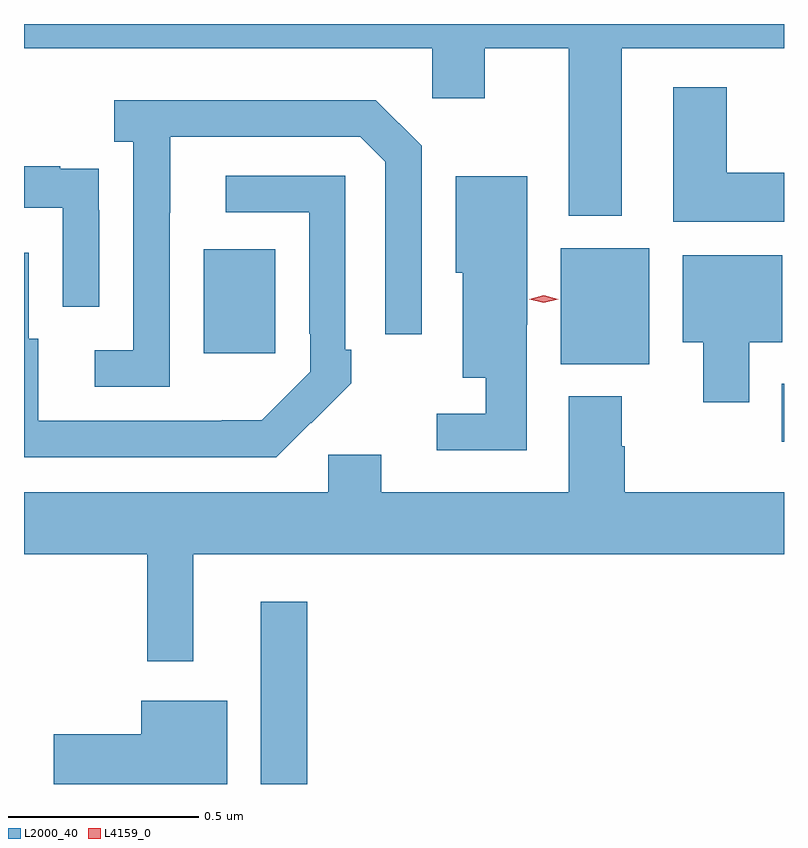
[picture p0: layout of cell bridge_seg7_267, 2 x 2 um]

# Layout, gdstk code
import gdstk
lib = gdstk.Library(unit=1e-6, precision=1e-09)
def R(c, l, rs):  # rectangles x0, y0, x1, y1
    for r in rs: c.add(gdstk.rectangle(r[:2], r[2:], *l))
def P(c, l, *ps):  # polygons
    for p in ps: c.add(gdstk.Polygon(p, *l))
L2000_40 = (2000, 40)
L4159_0 = (4159, 0)

bridge_seg7_267 = lib.new_cell('bridge_seg7_267')
R(bridge_seg7_267, L2000_40, [(167.453,1031.98,167.575,1032.46), (168.824,1032.881,168.83,1033.033), (168.242,1033.085,168.475,1033.39), (167.303,1033.113,167.491,1033.387)])
P(bridge_seg7_267, L2000_40, [(168.403,1033.916),(168.83,1033.916),(168.83,1033.98),(166.83,1033.98),(166.83,1033.916),(167.904,1033.916),(167.904,1033.785),(168.043,1033.785),(168.043,1033.916),(168.263,1033.916),(168.263,1033.475),(168.403,1033.475)],
  [(168.83,1033.588),(168.679,1033.588),(168.679,1033.813),(168.539,1033.813),(168.539,1033.46),(168.83,1033.46)],
  [(167.214,1033.483),(167.215,1033.483),(167.215,1033.683),(167.715,1033.683),(167.781,1033.617),(167.781,1033.164),(167.877,1033.164),(167.877,1033.659),(167.756,1033.78),(167.067,1033.78),(167.067,1033.67),(167.118,1033.67),(167.118,1033.122),(167.016,1033.122),(167.016,1033.026),(167.214,1033.026)],
  [(167.028,1033.49),(167.027,1033.49),(167.027,1033.599),(166.925,1033.599),(166.925,1033.606),(166.83,1033.606),(166.83,1033.497),(166.932,1033.497),(166.932,1033.236),(167.028,1033.236)],
  [(167.585,1032.931),(167.586,1032.93),(167.691,1033.035),(167.691,1033.123),(167.676,1033.123),(167.676,1033.581),(167.361,1033.581),(167.361,1033.485),(167.58,1033.485),(167.58,1033.165),(167.583,1033.165),(167.583,1033.065),(167.455,1032.937),(167.351,1032.937),(167.351,1032.936),(166.867,1032.936),(166.867,1033.152),(166.843,1033.152),(166.843,1033.378),(166.83,1033.378),(166.83,1032.84),(167.494,1032.84)],
  [(168.153,1033.189),(168.154,1033.189),(168.154,1033.579),(167.966,1033.579),(167.966,1033.326),(167.984,1033.326),(167.984,1033.049),(168.045,1033.049),(168.045,1032.954),(167.916,1032.954),(167.916,1032.858),(168.153,1032.858)],
  [(168.739,1033.142),(168.826,1033.142),(168.826,1033.372),(168.563,1033.372),(168.563,1033.142),(168.617,1033.142),(168.617,1032.984),(168.739,1032.984)],
  [(167.275,1032.584),(168.83,1032.584),(168.83,1032.748),(168.411,1032.748),(168.411,1032.869),(168.403,1032.869),(168.403,1033),(168.263,1033),(168.263,1032.748),(167.77,1032.748),(167.77,1032.846),(167.631,1032.846),(167.631,1032.748),(166.83,1032.748),(166.83,1032.584),(167.154,1032.584),(167.154,1032.303),(167.275,1032.303)],
  [(167.365,1032.199),(167.138,1032.199),(167.138,1032.111),(166.908,1032.111),(166.908,1031.98),(167.365,1031.98)])
P(bridge_seg7_267, L4159_0, [(168.198,1033.246),(168.159,1033.256),(168.159,1033.256),(168.159,1033.256),(168.198,1033.266),(168.236,1033.256),(168.236,1033.256),(168.236,1033.256)])

lib.write_gds('bridge_seg7_267.gds')
